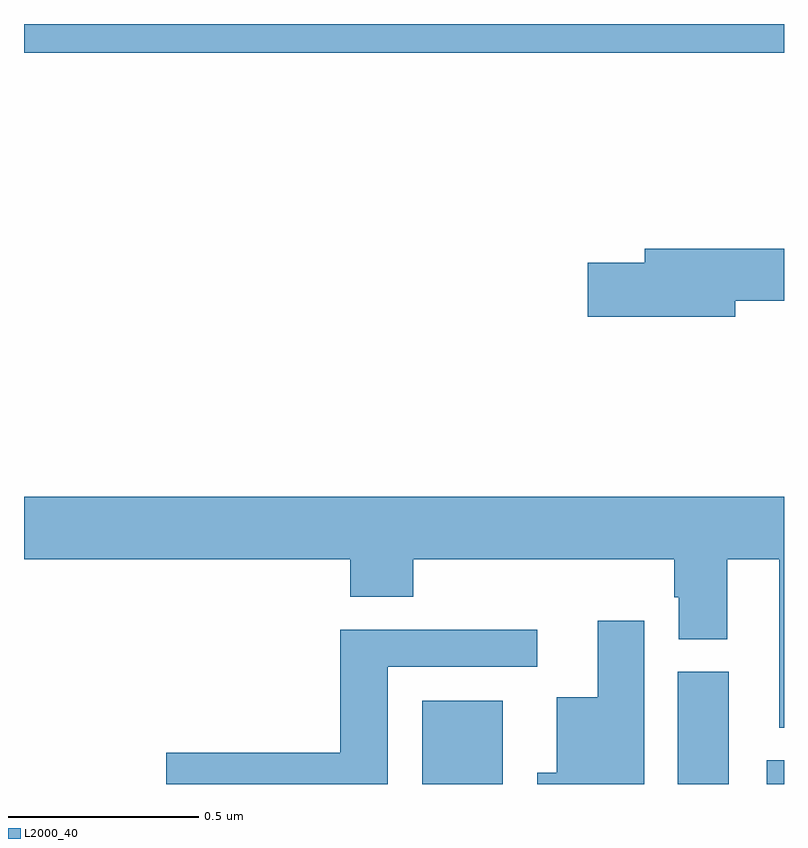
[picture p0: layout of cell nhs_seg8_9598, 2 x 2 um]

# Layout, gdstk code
import gdstk
lib = gdstk.Library(unit=1e-6, precision=1e-09)
def R(c, l, rs):  # rectangles x0, y0, x1, y1
    for r in rs: c.add(gdstk.rectangle(r[:2], r[2:], *l))
def P(c, l, *ps):  # polygons
    for p in ps: c.add(gdstk.Polygon(p, *l))
L2000_40 = (2000, 40)

nhs_seg8_9598 = lib.new_cell('nhs_seg8_9598')
R(nhs_seg8_9598, L2000_40, [(239.048,1123.9,239.26,1124.119), (239.72,1123.9,239.854,1124.196), (239.954,1123.9,240,1123.963), (238,1125.824,240,1125.9)])
P(nhs_seg8_9598, L2000_40, [(239.872,1125.172),(240,1125.172),(240,1125.308),(239.633,1125.308),(239.633,1125.272),(239.484,1125.272),(239.484,1125.13),(239.872,1125.13)],
  [(240,1124.656),(238,1124.656),(238,1124.492),(238.859,1124.492),(238.859,1124.393),(239.024,1124.393),(239.024,1124.492),(239.711,1124.492),(239.711,1124.391),(239.723,1124.391),(239.723,1124.281),(239.851,1124.281),(239.851,1124.492),(239.987,1124.492),(239.987,1124.048),(240,1124.048)],
  [(239.632,1124.329),(239.51,1124.329),(239.51,1124.128),(239.402,1124.128),(239.402,1123.93),(239.351,1123.93),(239.351,1123.9),(239.632,1123.9)],
  [(238.957,1124.208),(239.35,1124.208),(239.35,1124.306),(238.832,1124.306),(238.832,1123.982),(238.374,1123.982),(238.374,1123.9),(238.957,1123.9)])

lib.write_gds('nhs_seg8_9598.gds')
